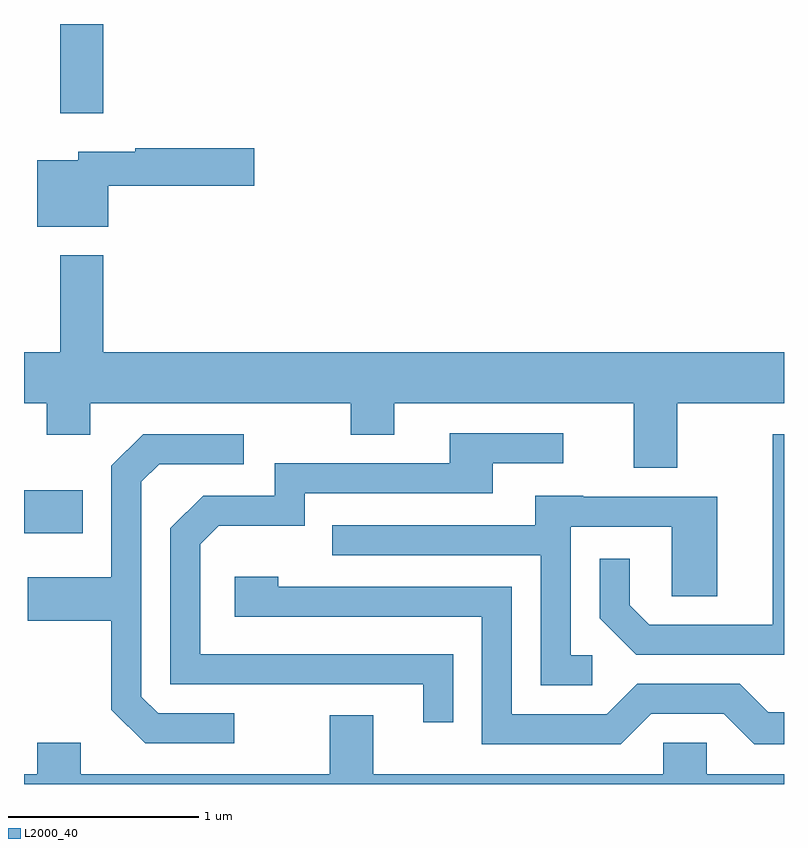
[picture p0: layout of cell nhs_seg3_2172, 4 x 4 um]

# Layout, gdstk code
import gdstk
lib = gdstk.Library(unit=1e-6, precision=1e-09)
def R(c, l, rs):  # rectangles x0, y0, x1, y1
    for r in rs: c.add(gdstk.rectangle(r[:2], r[2:], *l))
def P(c, l, *ps):  # polygons
    for p in ps: c.add(gdstk.Polygon(p, *l))
L2000_40 = (2000, 40)

nhs_seg3_2172 = lib.new_cell('nhs_seg3_2172')
R(nhs_seg3_2172, L2000_40, [(247.611,1245.211,247.919,1245.439), (247.801,1247.421,248.029,1247.892)])
P(nhs_seg3_2172, L2000_40, [(248.054,1247.041),(248.824,1247.041),(248.824,1247.239),(248.196,1247.239),(248.196,1247.219),(247.896,1247.219),(247.896,1247.174),(247.681,1247.174),(247.681,1246.826),(248.054,1246.826)],
  [(251.049,1245.896),(251.611,1245.896),(251.611,1246.164),(248.029,1246.164),(248.029,1246.674),(247.801,1246.674),(247.801,1246.164),(247.611,1246.164),(247.611,1245.896),(247.731,1245.896),(247.731,1245.731),(247.959,1245.731),(247.959,1245.896),(249.331,1245.896),(249.331,1245.731),(249.559,1245.731),(249.559,1245.896),(250.821,1245.896),(250.821,1245.556),(251.049,1245.556)],
  [(249.869,1244.574),(248.539,1244.574),(248.539,1245.154),(248.637,1245.251),(249.089,1245.251),(249.089,1245.421),(250.079,1245.421),(250.079,1245.581),(250.448,1245.581),(250.448,1245.739),(249.851,1245.739),(249.851,1245.579),(248.931,1245.579),(248.931,1245.409),(248.554,1245.409),(248.381,1245.237),(248.381,1244.416),(249.711,1244.416),(249.711,1244.218),(249.869,1244.218)],
  [(248.718,1244.264),(248.317,1244.264),(248.229,1244.352),(248.229,1245.484),(248.322,1245.576),(248.768,1245.576),(248.768,1245.734),(248.239,1245.734),(248.071,1245.567),(248.071,1244.979),(247.631,1244.979),(247.631,1244.751),(248.071,1244.751),(248.071,1244.284),(248.249,1244.106),(248.718,1244.106)],
  [(251.611,1245.734),(251.551,1245.734),(251.551,1244.729),(250.902,1244.729),(250.799,1244.832),(250.799,1245.078),(250.641,1245.078),(250.641,1244.764),(250.834,1244.571),(251.611,1244.571)],
  [(250.603,1244.569),(250.489,1244.569),(250.489,1245.246),(251.021,1245.246),(251.021,1244.881),(251.259,1244.881),(251.259,1245.404),(250.555,1245.404),(250.555,1245.409),(250.301,1245.409),(250.301,1245.254),(249.233,1245.254),(249.233,1245.096),(250.331,1245.096),(250.331,1244.411),(250.603,1244.411)],
  [(250.912,1244.261),(251.294,1244.261),(251.454,1244.101),(251.611,1244.101),(251.611,1244.269),(251.527,1244.269),(251.377,1244.419),(250.839,1244.419),(250.679,1244.259),(250.179,1244.259),(250.179,1244.929),(248.949,1244.929),(248.949,1244.984),(248.721,1244.984),(248.721,1244.771),(250.021,1244.771),(250.021,1244.101),(250.752,1244.101)],
  [(251.611,1243.944),(251.204,1243.944),(251.204,1244.109),(250.976,1244.109),(250.976,1243.944),(249.449,1243.944),(249.449,1244.254),(249.221,1244.254),(249.221,1243.944),(247.909,1243.944),(247.909,1244.109),(247.681,1244.109),(247.681,1243.944),(247.611,1243.944),(247.611,1243.892),(251.611,1243.892)])

lib.write_gds('nhs_seg3_2172.gds')
